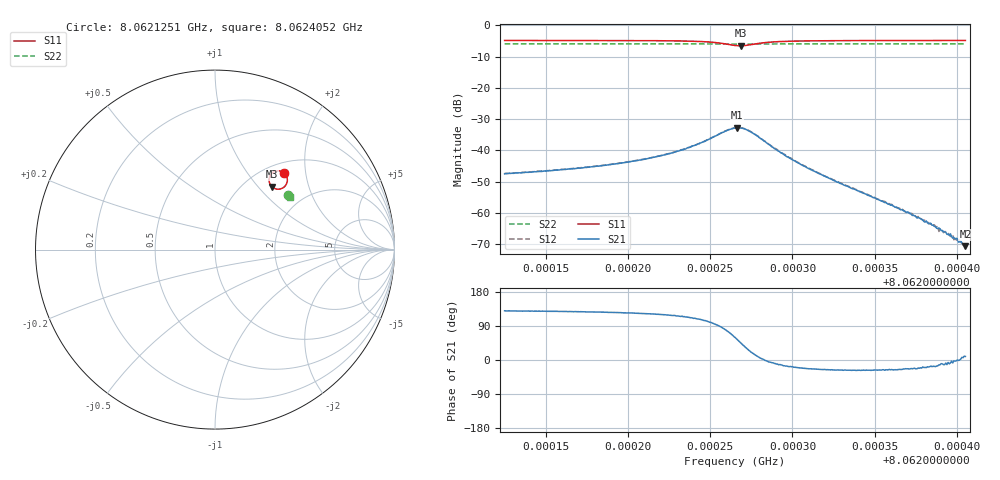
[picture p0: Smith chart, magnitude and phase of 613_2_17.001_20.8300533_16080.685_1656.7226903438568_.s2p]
#  HZ  S  RI  R  50.00
! Rohde & Schwarz Vector Network Analyzer
! Rohde-Schwarz,ZNB20-2Port,1311601062101988,3.16
! Created: UTC 3/20/2024, 11:19:36 PM
! freq[Hz]  re:S11  im:S11  re:S21  im:S21  re:S12  im:S12  re:S22  im:S22
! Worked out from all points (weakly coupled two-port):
!   401 points, 8.0621251 GHz to 8.0624052 GHz, reference 50 ohm
!   highest |S21| = -32.74 dB at 8.0622665 GHz (marker M1); lowest = -70.7 dB at 8.0624052 GHz (marker M2)
!   lowest |S11| = -6.5 dB at 8.0622686 GHz (marker M3), VSWR 2.79, Z = 65.6 + j59.4 ohm
!   |S11| at or under -10 dB: nowhere
!   |S22| runs from -6.0 to -5.9 dB; largest |S21 - S12| = 0.0014
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8.06212509e9  0.3859 0.4275  -0.0027 0.00324  -0.00254 0.00345  0.4068 0.3045
8.062172e9  0.3914 0.4213  -0.00319 0.00417  -0.00295 0.00441  0.4087 0.3019
8.06219791e9  0.3955 0.4155  -0.00362 0.00526  -0.00336 0.00553  0.4095 0.3005
8.06221891e9  0.3997 0.4069  -0.00408 0.00697  -0.0037 0.00728  0.4102 0.2991
8.06223362e9  0.4027 0.3955  -0.00424 0.0094  -0.00367 0.00966  0.4108 0.2978
8.06224062e9  0.4033 0.3865  -0.00417 0.0113  -0.0034 0.0116  0.4109 0.2969
8.06225462e9  0.3912 0.3547  -0.000465 0.0177  0.000566 0.0178  0.4104 0.2952
8.06226022e9  0.3696 0.3398  0.0047 0.0204  0.00589 0.0201  0.4094 0.2944
8.06226512e9  0.3382 0.3386  0.0116 0.0198  0.0127 0.0192  0.4083 0.2946
8.06226652e9  0.3286 0.3424  0.0136 0.0186  0.0147 0.0179  0.4079 0.2948
8.06226862e9  0.3159 0.3515  0.0162 0.0161  0.017 0.0155  0.4075 0.2954
8.06227423e9  0.301 0.3875  0.0185 0.00799  0.0192 0.00697  0.4075 0.2969
8.06228403e9  0.3201 0.4277  0.0134 -0.000431  0.0134 -0.00117  0.4091 0.2979
8.06229663e9  0.3453 0.4386  0.00761 -0.00218  0.0076 -0.00274  0.411 0.2975
8.06231203e9  0.3613 0.4381  0.0044 -0.00193  0.00436 -0.00223  0.4122 0.2965
8.06233234e9  0.3717 0.4352  0.00242 -0.00122  0.00238 -0.00142  0.4133 0.2952
8.06235895e9  0.3789 0.4318  0.00125 -0.000571  0.0012 -0.000697  0.4143 0.2936
8.06238485e9  0.3834 0.429  0.000605 -0.00019  0.000577 -0.00023  0.4153 0.2923
8.06239045e9  0.3841 0.4284  0.000513 -8.66e-05  0.000533 -0.00017  0.4155 0.292
8.06239396e9  0.3846 0.4282  0.000443 -9.57e-05  0.000485 -7.55e-05  0.4157 0.2918
8.06239956e9  0.3854 0.4275  0.000391 -1.44e-05  0.000366 -4.66e-05  0.4159 0.2915
8.06240516e9  0.3859 0.4272  0.000289 4.77e-05  0.000314 2.97e-05  0.4161 0.2911
